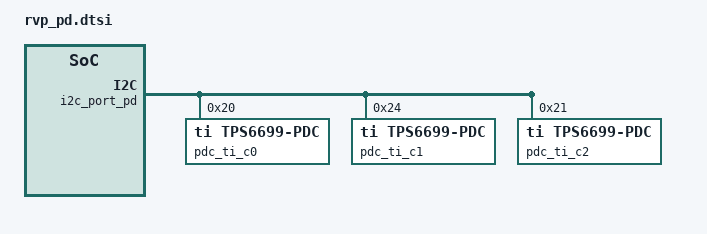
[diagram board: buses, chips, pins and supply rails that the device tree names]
/* Copyright 2026 The ChromiumOS Authors
 * Use of this source code is governed by a BSD-style license that can be
 * found in the LICENSE file.
 */

&i2c_port_pd {
	pdc_ti_c0: tps6699-pdc@20 {
		compatible = "ti,tps6699-pdc";
		reg = <0x20>;
		port-index-on-chip = <0x1>;
		frs-supported;
	};
	pdc_ti_c1: tps6699-pdc@24 {
		compatible = "ti,tps6699-pdc";
		reg = <0x24>;
		port-index-on-chip = <0x2>;
		frs-supported;
		no-fw-update;
		ccd;
	};
	pdc_ti_c2: tps6699-pdc@21 {
		compatible = "ti,tps6699-pdc";
		reg = <0x21>;
		port-index-on-chip = <0x1>;
		frs-supported;
	};
};
